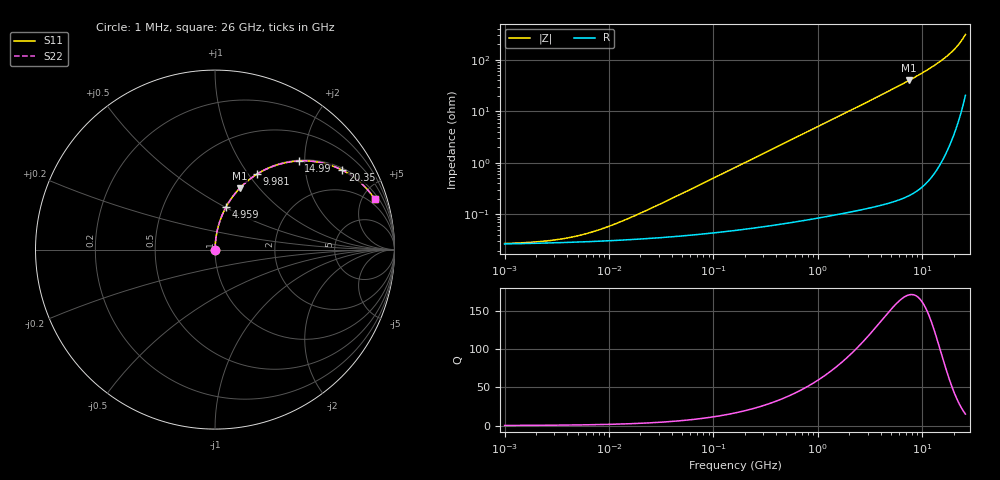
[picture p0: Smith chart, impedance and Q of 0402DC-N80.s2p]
# MHz  S  MA  R  50
!Freq  MagS11  AngS11  MagS21  AngS21  MagS12  AngS12  MagS22  AngS22
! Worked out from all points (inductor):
!   801 points, 1 MHz to 26 GHz, reference 50 ohm
!   read as one part in series: L = 800 pH near 20.12 MHz
!   highest Q = 171 at 7.545 GHz (marker M1), where L = 841 pH
!   S11 on the Smith chart (normalised r, x): 1 MHz: 1.00, +0.00; 4.959 GHz: 1.00, +0.51; 9.981 GHz: 1.01, +1.10; 14.99 GHz: 1.02, +1.86; 20.35 GHz: 1.07, +3.16; 26 GHz: 1.41, +6.13
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1  0.0002735 10.6  0.9997 -0.0  0.9997 -0.0  0.0002735 10.6
2.629061  0.0003101 25.2  0.9997 -0.0  0.9997 -0.0  0.0003101 25.2
3.850449  0.0003461 34.0  0.9997 -0.0  0.9997 -0.0  0.0003461 34.0
5.497621  0.0004036 43.2  0.9997 -0.0  0.9997 -0.0  0.0004036 43.2
7.849432  0.0004973 52.5  0.9997 -0.0  0.9997 -0.0  0.0004973 52.5
11.35077  0.0006509 61.2  0.9997 -0.0  0.9997 -0.0  0.0006509 61.2
17.49165  0.0009385 69.4  0.9997 -0.1  0.9997 -0.1  0.0009385 69.4
29.84186  0.001541 76.7  0.9996 -0.1  0.9996 -0.1  0.001541 76.7
161.9858  0.008153 86.1  0.9995 -0.5  0.9995 -0.5  0.008153 86.1
879.282  0.04416 86.4  0.9982 -2.5  0.9982 -2.5  0.04416 86.4
2282.47  0.1144 82.9  0.9923 -6.6  0.9923 -6.6  0.1144 82.9
3385.631  0.1692 79.8  0.9842 -9.7  0.9842 -9.7  0.1692 79.8
4833.96  0.2403 75.7  0.9691 -13.9  0.9691 -13.9  0.2403 75.7
4958.501  0.2463 75.4  0.9676 -14.3  0.9676 -14.3  0.2463 75.4
7544.531  0.3695 68.0  0.9271 -21.7  0.9271 -21.7  0.3695 68.0
9980.528  0.4795 61.0  0.8746 -28.7  0.8746 -28.7  0.4795 61.0
12232.99  0.5741 54.5  0.8146 -35.0  0.8146 -35.0  0.5741 54.5
14993.8  0.6785 46.7  0.7278 -42.7  0.7278 -42.7  0.6785 46.7
17689.67  0.7657 39.2  0.6317 -50.0  0.6317 -50.0  0.7657 39.2
20346.06  0.8361 32.0  0.5294 -56.7  0.5294 -56.7  0.8361 32.0
22813.58  0.887 25.5  0.431 -62.4  0.431 -62.4  0.887 25.5
26000  0.9329 17.6  0.3038 -68.6  0.3038 -68.6  0.9329 17.6
